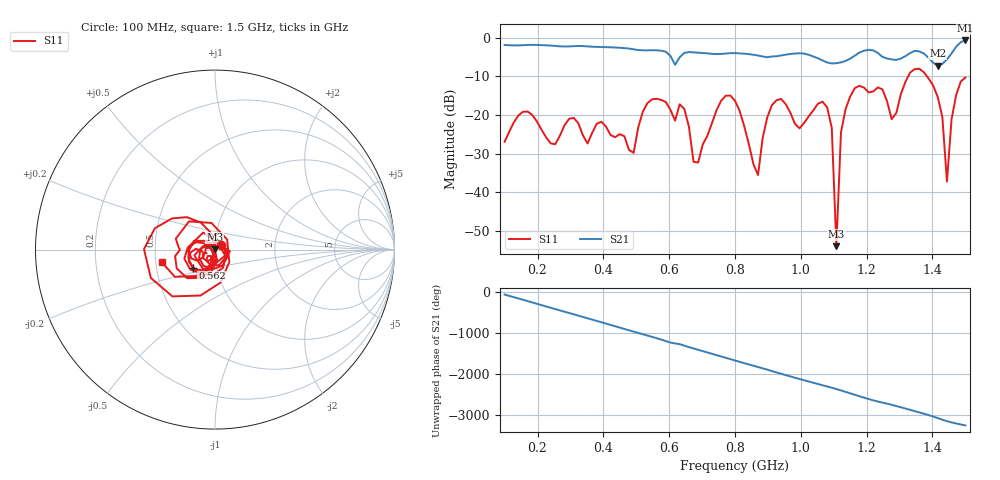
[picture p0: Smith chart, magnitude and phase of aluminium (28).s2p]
! NanoVNA-App
! Date: 2025-09-26 09:58:17
! Start: 100MHz Stop: 1,5GHz Points: 101
! S-Parameter data: F S11 S21 S12 S22
# Hz S RI R 50
!  Frequency  S11_Real  S11_Imag  S21_Real  S21_Imag  S12_Real  S12_Imag  S22_Real  S22_Imag
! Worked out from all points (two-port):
!   101 points, 100 MHz to 1.5 GHz, reference 50 ohm
!   highest |S21| = -0.75 dB at 1.5 GHz (marker M1); lowest = -7.3 dB at 1.416 GHz (marker M2)
!   |S21| within 3 dB of the highest: start of sweep to 591.1 MHz; 1.182 GHz to 1.229 GHz (47.11 MHz wide, 3.91 % of centre) (the widest 2 of 4)
!   lowest |S11| = -53.9 dB at 1.108 GHz (marker M3), VSWR 1.00, Z = 49.8 + j0.0803 ohm
!   |S11| at or under -10 dB: start of sweep to 1.326 GHz; 1.383 GHz to end of sweep
!   S12 and S22 are empty: the file has one direction only
!   S11 on the Smith chart (normalised r, x): 100 MHz: 1.07, +0.06; 562 MHz: 0.76, -0.16; 1.5 GHz: 0.54, -0.08
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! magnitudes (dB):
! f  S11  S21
! 100 MHz  -27.0  -1.9
! 156 MHz  -19.2  -2.0
! 338 MHz  -25.3  -2.2
! 492 MHz  -29.8  -3.0
! 562 MHz  -15.8  -3.3
! 576 MHz  -16.1  -3.4
! 646 MHz  -18.5  -4.0
! 688 MHz  -32.3  -3.9
! 800 MHz  -16.3  -4.0
! 870 MHz  -35.5  -4.6
! 912 MHz  -17.5  -4.9
! 1.038 GHz  -18.8  -4.9
! 1.094 GHz  -23.4  -6.7
! 1.108 GHz  -53.9  -6.6
! 1.122 GHz  -24.5  -6.4
! 1.15 GHz  -15.2  -5.5
! 1.276 GHz  -21.1  -5.6
! 1.346 GHz  -8.2  -3.4
! 1.416 GHz  -15.4  -7.3
! 1.444 GHz  -37.2  -5.6
! 1.458 GHz  -21.1  -4.1
! 1.5 GHz  -10.3  -0.7
